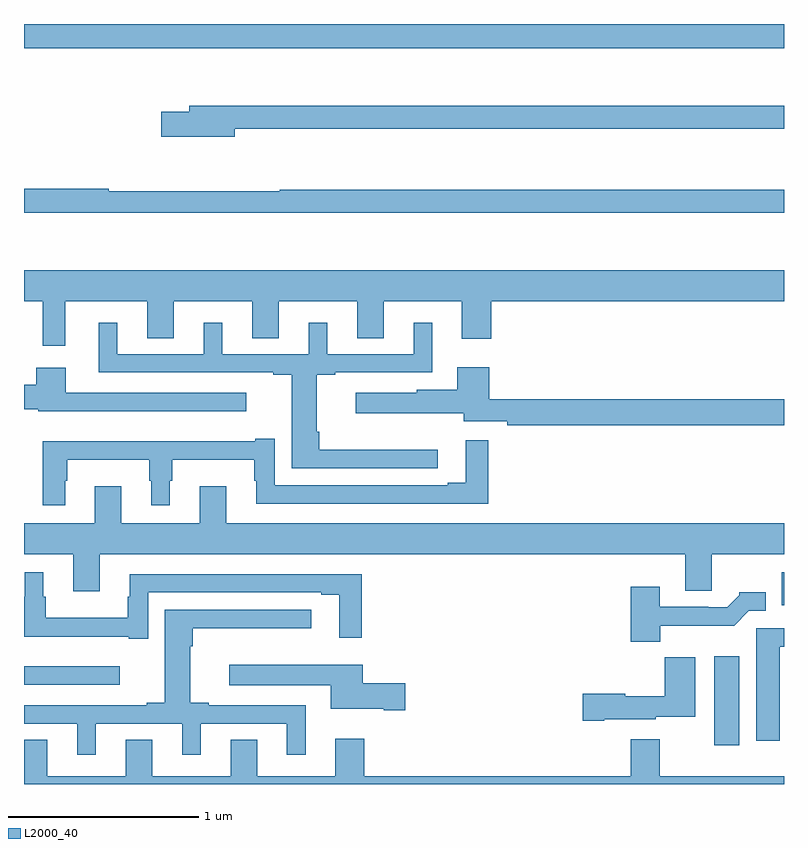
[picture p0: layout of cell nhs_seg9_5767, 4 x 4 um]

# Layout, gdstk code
import gdstk
lib = gdstk.Library(unit=1e-6, precision=1e-09)
def R(c, l, rs):  # rectangles x0, y0, x1, y1
    for r in rs: c.add(gdstk.rectangle(r[:2], r[2:], *l))
def P(c, l, *ps):  # polygons
    for p in ps: c.add(gdstk.Polygon(p, *l))
L2000_40 = (2000, 40)

nhs_seg9_5767 = lib.new_cell('nhs_seg9_5767')
R(nhs_seg9_5767, L2000_40, [(448.634,1240.704,448.765,1241.173), (445,1241.022,445.504,1241.119), (448.988,1241.442,449,1241.614), (445,1244.372,449,1244.5)])
P(nhs_seg9_5767, L2000_40, [(446.11,1243.95),(449,1243.95),(449,1244.071),(445.871,1244.071),(445.871,1244.037),(445.722,1244.037),(445.722,1243.907),(446.11,1243.907)],
  [(449,1243.627),(446.345,1243.627),(446.345,1243.619),(445.445,1243.619),(445.445,1243.634),(445,1243.634),(445,1243.506),(449,1243.506)],
  [(445.217,1243.04),(445.649,1243.04),(445.649,1242.847),(445.789,1242.847),(445.789,1243.04),(446.201,1243.04),(446.201,1242.847),(446.341,1242.847),(446.341,1243.04),(446.753,1243.04),(446.753,1242.847),(446.893,1242.847),(446.893,1243.04),(447.305,1243.04),(447.305,1242.843),(447.458,1242.843),(447.458,1243.04),(449,1243.04),(449,1243.204),(445,1243.204),(445,1243.04),(445.099,1243.04),(445.099,1242.807),(445.217,1242.807)],
  [(447.178,1242.26),(446.555,1242.26),(446.555,1242.355),(446.542,1242.355),(446.542,1242.654),(446.638,1242.654),(446.638,1242.666),(447.148,1242.666),(447.148,1242.928),(447.05,1242.928),(447.05,1242.762),(446.596,1242.762),(446.596,1242.928),(446.498,1242.928),(446.498,1242.762),(446.044,1242.762),(446.044,1242.928),(445.946,1242.928),(445.946,1242.762),(445.492,1242.762),(445.492,1242.928),(445.394,1242.928),(445.394,1242.666),(446.312,1242.666),(446.312,1242.654),(446.408,1242.654),(446.408,1242.162),(447.178,1242.162)],
  [(449,1242.524),(447.448,1242.524),(447.448,1242.694),(447.281,1242.694),(447.281,1242.574),(447.066,1242.574),(447.066,1242.559),(446.745,1242.559),(446.745,1242.452),(447.314,1242.452),(447.314,1242.408),(447.544,1242.408),(447.544,1242.388),(449,1242.388)],
  [(446.17,1242.558),(445.219,1242.558),(445.219,1242.691),(445.064,1242.691),(445.064,1242.601),(445,1242.601),(445,1242.472),(445.076,1242.472),(445.076,1242.461),(446.17,1242.461)],
  [(445.216,1242.095),(445.228,1242.095),(445.228,1242.206),(445.659,1242.206),(445.659,1242.095),(445.67,1242.095),(445.67,1241.967),(445.768,1241.967),(445.768,1242.095),(445.78,1242.095),(445.78,1242.206),(446.211,1242.206),(446.211,1242.095),(446.222,1242.095),(446.222,1241.976),(447.443,1241.976),(447.443,1242.31),(447.326,1242.31),(447.326,1242.085),(447.23,1242.085),(447.23,1242.072),(446.319,1242.072),(446.319,1242.316),(446.216,1242.316),(446.216,1242.304),(445.099,1242.304),(445.099,1241.967),(445.216,1241.967)],
  [(445.399,1241.708),(448.481,1241.708),(448.481,1241.518),(448.621,1241.518),(448.621,1241.708),(449,1241.708),(449,1241.872),(446.065,1241.872),(446.065,1242.067),(445.925,1242.067),(445.925,1241.872),(445.513,1241.872),(445.513,1242.067),(445.373,1242.067),(445.373,1241.872),(445,1241.872),(445,1241.708),(445.259,1241.708),(445.259,1241.514),(445.399,1241.514)],
  [(445.653,1241.508),(446.564,1241.508),(446.564,1241.496),(446.66,1241.496),(446.66,1241.271),(446.777,1241.271),(446.777,1241.604),(445.556,1241.604),(445.556,1241.486),(445.545,1241.486),(445.545,1241.374),(445.114,1241.374),(445.114,1241.486),(445.102,1241.486),(445.102,1241.614),(445.004,1241.614),(445.004,1241.486),(445,1241.486),(445,1241.276),(445.55,1241.276),(445.55,1241.265),(445.653,1241.265)],
  [(448.348,1241.334),(448.737,1241.334),(448.815,1241.412),(448.903,1241.412),(448.903,1241.509),(448.764,1241.509),(448.764,1241.494),(448.7,1241.43),(448.601,1241.43),(448.601,1241.433),(448.345,1241.433),(448.345,1241.539),(448.193,1241.539),(448.193,1241.249),(448.348,1241.249)],
  [(445.378,1240.818),(445.832,1240.818),(445.832,1240.653),(445.93,1240.653),(445.93,1240.818),(446.384,1240.818),(446.384,1240.653),(446.482,1240.653),(446.482,1240.914),(445.972,1240.914),(445.972,1240.927),(445.876,1240.927),(445.876,1241.225),(445.889,1241.225),(445.889,1241.321),(446.512,1241.321),(446.512,1241.418),(445.742,1241.418),(445.742,1240.927),(445.646,1240.927),(445.646,1240.914),(445,1240.914),(445,1240.818),(445.28,1240.818),(445.28,1240.653),(445.378,1240.653)],
  [(448.978,1241.222),(449,1241.222),(449,1241.319),(448.853,1241.319),(448.853,1240.728),(448.978,1240.728)],
  [(448.054,1240.841),(448.326,1240.841),(448.326,1240.853),(448.534,1240.853),(448.534,1241.167),(448.372,1241.167),(448.372,1240.963),(448.164,1240.963),(448.164,1240.976),(447.942,1240.976),(447.942,1240.834),(448.054,1240.834)],
  [(447.007,1241.03),(446.782,1241.03),(446.782,1241.128),(446.079,1241.128),(446.079,1241.021),(446.615,1241.021),(446.615,1240.895),(446.894,1240.895),(446.894,1240.888),(447.007,1240.888)],
  [(449,1240.54),(448.345,1240.54),(448.345,1240.735),(448.193,1240.735),(448.193,1240.54),(446.792,1240.54),(446.792,1240.738),(446.639,1240.738),(446.639,1240.54),(446.227,1240.54),(446.227,1240.733),(446.087,1240.733),(446.087,1240.54),(445.675,1240.54),(445.675,1240.733),(445.535,1240.733),(445.535,1240.54),(445.123,1240.54),(445.123,1240.733),(445,1240.733),(445,1240.5),(449,1240.5)])

lib.write_gds('nhs_seg9_5767.gds')
